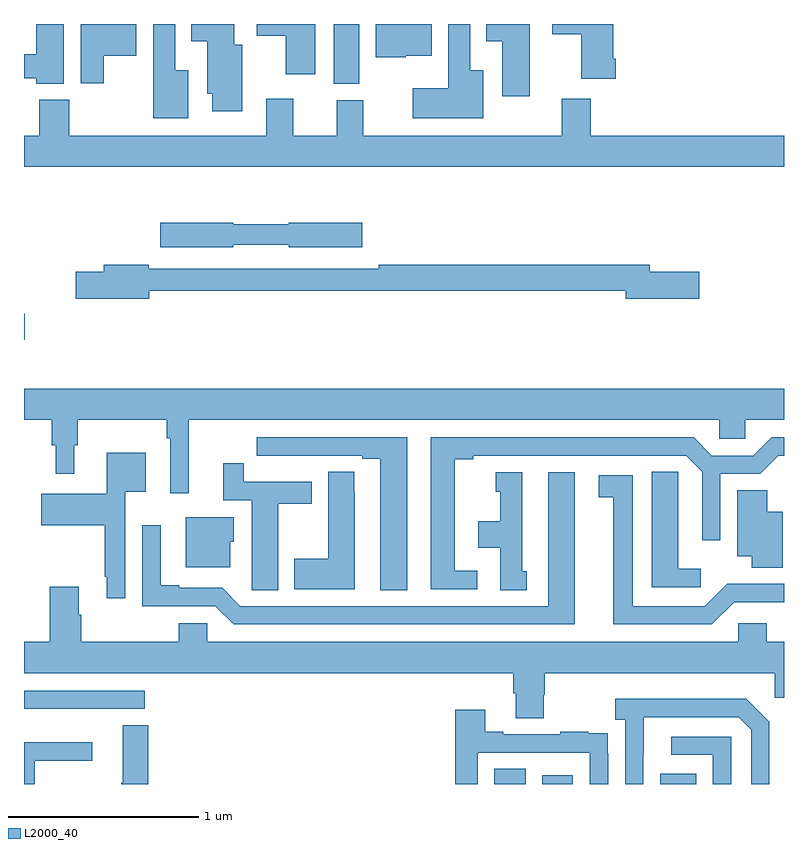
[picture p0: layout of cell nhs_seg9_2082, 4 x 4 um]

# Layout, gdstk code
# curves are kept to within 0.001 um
import gdstk
lib = gdstk.Library(unit=1e-6, precision=1e-09)
def R(c, l, rs):  # rectangles x0, y0, x1, y1
    for r in rs: c.add(gdstk.rectangle(r[:2], r[2:], *l))
def P(c, l, *ps):  # polygons
    for p in ps: c.add(gdstk.Polygon(p, *l))
L2000_40 = (2000, 40)

nhs_seg9_2082 = lib.new_cell('nhs_seg9_2082')
R(nhs_seg9_2082, L2000_40, [(231.476,1198.5,231.64,1198.58), (231.728,1198.5,231.889,1198.546), (232.349,1198.5,232.537,1198.555), (229,1200.839,229.003,1200.974), (230.63,1202.185,230.764,1202.5)])
P(nhs_seg9_2082, L2000_40, [(231.009,1202.333),(231.145,1202.333),(231.145,1202.5),(230.852,1202.5),(230.852,1202.324),(231.009,1202.324)],
  [(230.533,1202.5),(230.226,1202.5),(230.226,1202.439),(230.378,1202.439),(230.378,1202.235),(230.533,1202.235)],
  [(230.149,1202.392),(230.107,1202.392),(230.107,1202.5),(229.88,1202.5),(229.88,1202.408),(229.964,1202.408),(229.964,1202.133),(229.991,1202.133),(229.991,1202.04),(230.149,1202.04)],
  [(229.21,1202.5),(229.064,1202.5),(229.064,1202.342),(229,1202.342),(229,1202.214),(229.064,1202.214),(229.064,1202.186),(229.21,1202.186)],
  [(229.864,1202.257),(229.795,1202.257),(229.795,1202.5),(229.679,1202.5),(229.679,1202.003),(229.864,1202.003)],
  [(232.115,1202.317),(232.102,1202.317),(232.102,1202.5),(231.78,1202.5),(231.78,1202.446),(231.932,1202.446),(231.932,1202.213),(232.115,1202.213)],
  [(231.661,1202.5),(231.434,1202.5),(231.434,1202.408),(231.518,1202.408),(231.518,1202.121),(231.661,1202.121)],
  [(231.418,1202.257),(231.349,1202.257),(231.349,1202.5),(231.233,1202.5),(231.233,1202.161),(231.045,1202.161),(231.045,1202.003),(231.418,1202.003)],
  [(229.42,1202.333),(229.591,1202.333),(229.591,1202.5),(229.298,1202.5),(229.298,1202.187),(229.42,1202.187)],
  [(233,1201.912),(231.983,1201.912),(231.983,1202.107),(231.83,1202.107),(231.83,1201.912),(230.785,1201.912),(230.785,1202.1),(230.645,1202.1),(230.645,1201.912),(230.416,1201.912),(230.416,1202.107),(230.276,1202.107),(230.276,1201.912),(229.239,1201.912),(229.239,1202.101),(229.079,1202.101),(229.079,1201.912),(229,1201.912),(229,1201.748),(233,1201.748)],
  [(230.1,1201.338),(230.394,1201.338),(230.394,1201.325),(230.779,1201.325),(230.779,1201.455),(230.394,1201.455),(230.394,1201.447),(230.1,1201.447),(230.1,1201.455),(229.716,1201.455),(229.716,1201.325),(230.1,1201.325)],
  [(229.66,1201.096),(232.166,1201.096),(232.166,1201.054),(232.555,1201.054),(232.555,1201.196),(232.294,1201.196),(232.294,1201.232),(230.866,1201.232),(230.866,1201.212),(229.656,1201.212),(229.656,1201.232),(229.421,1201.232),(229.421,1201.196),(229.272,1201.196),(229.272,1201.054),(229.66,1201.054)],
  [(229.868,1200.416),(232.659,1200.416),(232.659,1200.318),(232.797,1200.318),(232.797,1200.416),(233,1200.416),(233,1200.58),(229,1200.58),(229,1200.416),(229.147,1200.416),(229.147,1200.282),(229.166,1200.282),(229.166,1200.132),(229.264,1200.132),(229.264,1200.282),(229.283,1200.282),(229.283,1200.416),(229.75,1200.416),(229.75,1200.32),(229.77,1200.32),(229.77,1200.03),(229.868,1200.03)],
  [(231.385,1199.622),(231.268,1199.622),(231.268,1200.208),(231.364,1200.208),(231.364,1200.228),(232.485,1200.228),(232.569,1200.144),(232.569,1199.784),(232.665,1199.784),(232.665,1200.132),(232.875,1200.132),(232.971,1200.228),(233,1200.228),(233,1200.324),(232.935,1200.324),(232.839,1200.228),(232.621,1200.228),(232.525,1200.324),(231.14,1200.324),(231.14,1199.526),(231.385,1199.526)],
  [(231.016,1200.324),(230.226,1200.324),(230.226,1200.228),(230.338,1200.228),(230.338,1200.227),(230.504,1200.227),(230.504,1200.228),(230.78,1200.228),(230.78,1200.213),(230.876,1200.213),(230.876,1199.521),(231.016,1199.521)],
  [(229.533,1200.038),(229.642,1200.038),(229.642,1200.244),(229.436,1200.244),(229.436,1200.028),(229.092,1200.028),(229.092,1199.863),(229.425,1199.863),(229.425,1199.59),(229.436,1199.59),(229.436,1199.478),(229.533,1199.478)],
  [(230.338,1199.974),(230.515,1199.974),(230.515,1200.09),(230.156,1200.09),(230.156,1200.187),(230.048,1200.187),(230.048,1199.994),(230.198,1199.994),(230.198,1199.632),(230.199,1199.632),(230.199,1199.521),(230.338,1199.521)],
  [(232.561,1199.632),(232.444,1199.632),(232.444,1200.035),(232.443,1200.035),(232.443,1200.143),(232.304,1200.143),(232.304,1199.535),(232.561,1199.535)],
  [(230.74,1200.035),(230.739,1200.035),(230.739,1200.143),(230.6,1200.143),(230.6,1199.685),(230.423,1199.685),(230.423,1199.525),(230.74,1199.525)],
  [(231.646,1199.619),(231.622,1199.619),(231.622,1200.142),(231.482,1200.142),(231.482,1200.039),(231.506,1200.039),(231.506,1199.884),(231.392,1199.884),(231.392,1199.744),(231.506,1199.744),(231.506,1199.521),(231.646,1199.521)],
  [(231.898,1200.142),(231.758,1200.142),(231.758,1199.436),(230.139,1199.436),(230.043,1199.532),(229.816,1199.532),(229.816,1199.545),(229.72,1199.545),(229.72,1199.863),(229.623,1199.863),(229.623,1199.436),(230.007,1199.436),(230.103,1199.34),(231.898,1199.34)],
  [(232.737,1199.457),(233,1199.456),(233,1199.553),(232.702,1199.554),(232.584,1199.436),(232.204,1199.436),(232.204,1200.126),(232.026,1200.126),(232.026,1200.01),(232.1,1200.01),(232.1,1199.34),(232.62,1199.34)],
  [(232.993,1199.932),(232.912,1199.932),(232.912,1200.047),(232.754,1200.047),(232.754,1199.699),(232.829,1199.699),(232.829,1199.638),(232.993,1199.638)],
  [(230.086,1199.775),(230.104,1199.775),(230.104,1199.905),(229.85,1199.905),(229.85,1199.642),(230.086,1199.642)],
  [(231.735,1198.971),(231.74,1198.971),(231.74,1199.084),(232.95,1199.084),(232.95,1198.953),(233,1198.953),(233,1199.248),(232.91,1199.248),(232.91,1199.346),(232.758,1199.346),(232.758,1199.248),(229.965,1199.248),(229.965,1199.346),(229.814,1199.346),(229.814,1199.248),(229.301,1199.248),(229.301,1199.39),(229.288,1199.39),(229.288,1199.539),(229.136,1199.539),(229.136,1199.248),(229,1199.248),(229,1199.084),(231.575,1199.084),(231.575,1198.978),(231.587,1198.978),(231.587,1198.846),(231.735,1198.846)],
  [(229.423,1198.896),(229.636,1198.896),(229.636,1198.992),(229,1198.992),(229,1198.895),(229.423,1198.895)],
  [(232.26,1198.651),(232.261,1198.851),(232.761,1198.851),(232.827,1198.785),(232.827,1198.5),(232.923,1198.5),(232.923,1198.827),(232.802,1198.948),(232.113,1198.948),(232.113,1198.838),(232.164,1198.838),(232.164,1198.5),(232.26,1198.5)],
  [(231.387,1198.665),(231.978,1198.665),(231.978,1198.5),(232.074,1198.5),(232.074,1198.658),(232.073,1198.658),(232.073,1198.767),(231.971,1198.767),(231.971,1198.774),(231.823,1198.774),(231.823,1198.761),(231.523,1198.761),(231.523,1198.774),(231.427,1198.774),(231.427,1198.891),(231.271,1198.891),(231.271,1198.5),(231.387,1198.5)],
  [(229.655,1198.81),(229.52,1198.81),(229.52,1198.506),(229.513,1198.506),(229.513,1198.5),(229.655,1198.5)],
  [(232.722,1198.749),(232.407,1198.749),(232.407,1198.653),(232.626,1198.653),(232.626,1198.5),(232.722,1198.5)],
  [(229.056,1198.623),(229.36,1198.623),(229.36,1198.72),(229,1198.72),(229,1198.5),(229.056,1198.5)])

lib.write_gds('nhs_seg9_2082.gds')
